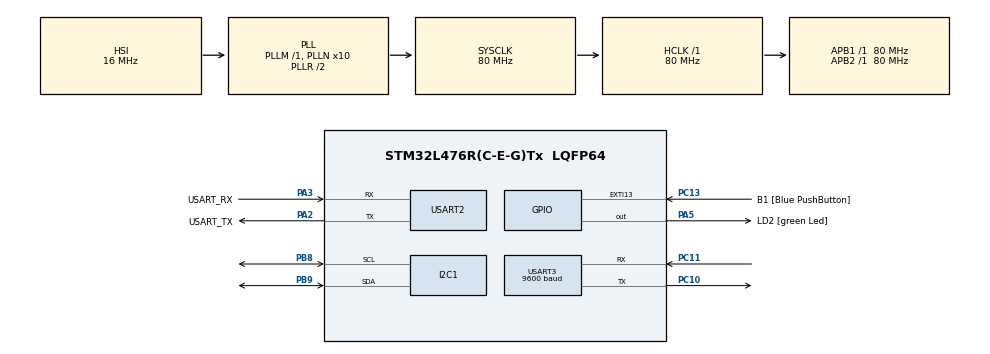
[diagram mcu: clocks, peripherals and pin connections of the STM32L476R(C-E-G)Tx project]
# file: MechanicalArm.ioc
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Dma.Request0=USART3_RX
Dma.USART3_RX.0.Direction=DMA_PERIPH_TO_MEMORY
Dma.USART3_RX.0.Instance=DMA1_Channel3
Dma.USART3_RX.0.MemDataAlignment=DMA_MDATAALIGN_BYTE
Dma.USART3_RX.0.MemInc=DMA_MINC_ENABLE
Dma.USART3_RX.0.Mode=DMA_NORMAL
Dma.USART3_RX.0.PeriphDataAlignment=DMA_PDATAALIGN_BYTE
Dma.USART3_RX.0.PeriphInc=DMA_PINC_DISABLE
Dma.USART3_RX.0.Priority=DMA_PRIORITY_LOW
I2C1.Timing=0x10D19CE4
Mcu.Family=STM32L4
Mcu.Name=STM32L476R(C-E-G)Tx
Mcu.Package=LQFP64
NVIC.DMA1_Channel3_IRQn=true\:0\:0\:false\:false\:true\:false\:true\:true
NVIC.PriorityGroup=NVIC_PRIORITYGROUP_4
NVIC.USART2_IRQn=true\:0\:0\:false\:false\:true\:true\:true\:true
NVIC.USART3_IRQn=true\:0\:0\:false\:false\:true\:true\:true\:true
PA13\ (JTMS-SWDIO).GPIO_Label=TMS
PA13\ (JTMS-SWDIO).Mode=Serial_Wire
PA13\ (JTMS-SWDIO).Signal=SYS_JTMS-SWDIO
PA14\ (JTCK-SWCLK).GPIO_Label=TCK
PA14\ (JTCK-SWCLK).Mode=Serial_Wire
PA14\ (JTCK-SWCLK).Signal=SYS_JTCK-SWCLK
PA2.GPIO_Label=USART_TX
PA2.GPIO_Mode=GPIO_MODE_AF_PP
PA2.GPIO_PuPd=GPIO_NOPULL
PA2.GPIO_Speed=GPIO_SPEED_FREQ_VERY_HIGH
PA2.Mode=Asynchronous
PA2.Signal=USART2_TX
PA3.GPIO_Label=USART_RX
PA3.GPIO_Mode=GPIO_MODE_AF_PP
PA3.GPIO_PuPd=GPIO_NOPULL
PA3.GPIO_Speed=GPIO_SPEED_FREQ_VERY_HIGH
PA3.Mode=Asynchronous
PA3.Signal=USART2_RX
PA5.GPIO_Label=LD2 [green Led]
PA5.GPIO_ModeDefaultOutputPP=GPIO_MODE_OUTPUT_PP
PA5.GPIO_PuPd=GPIO_NOPULL
PA5.GPIO_Speed=GPIO_SPEED_FREQ_LOW
PA5.Signal=GPIO_Output
PB3\ (JTDO-TRACESWO).GPIO_Label=SWO
PB3\ (JTDO-TRACESWO).Signal=SYS_JTDO-SWO
PB8.Mode=I2C
PB8.Signal=I2C1_SCL
PB9.Mode=I2C
PB9.Signal=I2C1_SDA
PC10.Mode=Asynchronous
PC10.Signal=USART3_TX
PC11.Mode=Asynchronous
PC11.Signal=USART3_RX
PC13.GPIO_Label=B1 [Blue PushButton]
PC13.GPIO_ModeDefaultEXTI=GPIO_MODE_IT_FALLING
PC13.GPIO_PuPd=GPIO_NOPULL
PC13.Signal=GPXTI13
PC14-OSC32_IN\ (PC14).Mode=LSE-External-Oscillator
PC14-OSC32_IN\ (PC14).Signal=RCC_OSC32_IN
PC15-OSC32_OUT\ (PC15).Mode=LSE-External-Oscillator
PC15-OSC32_OUT\ (PC15).Signal=RCC_OSC32_OUT
PH0-OSC_IN\ (PH0).Signal=RCC_OSC_IN
PH1-OSC_OUT\ (PH1).Signal=RCC_OSC_OUT
ProjectManager.HeapSize=0x200
ProjectManager.StackSize=0x400
ProjectManager.TargetToolchain=CMake
RCC.ADCFreq_Value=64000000
RCC.AHBFreq_Value=80000000
RCC.APB1Freq_Value=80000000
RCC.APB1TimFreq_Value=80000000
RCC.APB2Freq_Value=80000000
RCC.APB2TimFreq_Value=80000000
RCC.CortexFreq_Value=80000000
RCC.HCLKFreq_Value=80000000
RCC.HSE_VALUE=8000000
RCC.HSI_VALUE=16000000
RCC.MSI_VALUE=4000000
RCC.PLLN=10
RCC.PLLSourceVirtual=RCC_PLLSOURCE_HSI
RCC.PREFETCH_ENABLE=1
RCC.SYSCLKFreq_VALUE=80000000
RCC.SYSCLKSource=RCC_SYSCLKSOURCE_PLLCLK
RCC.USBFreq_Value=64000000
RCC.VCOOutputFreq_Value=160000000
USART2.VirtualMode-Asynchronous=VM_ASYNC
USART3.BaudRate=9600
USART3.VirtualMode-Asynchronous=VM_ASYNC
board=NUCLEO-L476RG

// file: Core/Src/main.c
/* USER CODE BEGIN Header */
/**
  ******************************************************************************
  * @file           : main.c
  * @brief          : Main program body
  ******************************************************************************
  * @attention
  *
  * Copyright (c) 2026 STMicroelectronics.
  * All rights reserved.
  *
  * This software is licensed under terms that can be found in the LICENSE file
  * in the root directory of this software component.
  * If no LICENSE file comes with this software, it is provided AS-IS.
  *
  ******************************************************************************
  */
/* USER CODE END Header */
#include "main.h"

/* USER CODE BEGIN Includes */
#include "PCA9685.h"
#include "helpers.h"

#define BUFFER_SIZE           32
#define MAX_SERVO_SPEED       2
/* USER CODE END Includes */

I2C_HandleTypeDef hi2c1;

UART_HandleTypeDef huart2;
UART_HandleTypeDef huart3;
DMA_HandleTypeDef hdma_usart3_rx;

/* USER CODE BEGIN PV */
uint8_t rxBuffer[BUFFER_SIZE];  // DMA buffer for incoming joints angle packets

// servo mapping to PCA9685 outputs
static const uint8_t id_to_channel[7] = {0, 15, 14, 13, 12, 11, 10};

// current and target angle for smooth servo movement without jerking
static uint8_t currentAngle[6] = {90, 60, 45, 90, 90, 15};
static volatile uint8_t targetAngle[6] = {90, 60, 45, 90, 90, 15};

/* USER CODE END PV */

void SystemClock_Config(void);
static void MX_GPIO_Init(void);
static void MX_DMA_Init(void);
static void MX_I2C1_Init(void);
static void MX_USART2_UART_Init(void);
static void MX_USART3_UART_Init(void);

/* USER CODE BEGIN 0 */

// handles incoming esp32 servo control frame, first and last byte are used for validation
void HAL_UARTEx_RxEventCallback(UART_HandleTypeDef *huart, uint16_t size) {
  if (huart->Instance == USART3) {
    for (int i=0; i < size; i++) {
      if (rxBuffer[i] == 0xAA) {
        if (size - i >= 8) {
          uint8_t waist = rxBuffer[i+1];
          uint8_t shoulder = rxBuffer[i+2];
          uint8_t elbow = rxBuffer[i+3];
          uint8_t wristRoll = rxBuffer[i+4];
          uint8_t wristPitch = rxBuffer[i+5];
          uint8_t gripper = rxBuffer[i+6];
          uint8_t checkSum = rxBuffer[i+7];

          uint8_t sum = waist + shoulder + elbow + wristRoll + wristPitch + gripper;
          if (checkSum == sum) {
            targetAngle[0] = waist;
            targetAngle[1] = shoulder;
            targetAngle[2] = elbow;
            targetAngle[3] = wristRoll;
            targetAngle[4] = wristPitch;
            targetAngle[5] = gripper;

            break;
          }
        }
      }
    }
    // clear UART flags and restart DMA reception to keep communication stable

    __HAL_UART_CLEAR_OREFLAG(&huart3);
    __HAL_UART_CLEAR_IDLEFLAG(&huart3);
    huart3.ErrorCode = HAL_UART_ERROR_NONE;

    HAL_UARTEx_ReceiveToIdle_DMA(&huart3, rxBuffer, BUFFER_SIZE);
    __HAL_DMA_DISABLE_IT(&hdma_usart3_rx, DMA_IT_HT);
  }
}

/* USER CODE END 0 */

int main(void)
{

  /* MCU Configuration--------------------------------------------------------*/

  /* Reset of all peripherals, Initializes the Flash interface and the Systick. */
  HAL_Init();

  /* Configure the system clock */
  SystemClock_Config();

  /* Initialize all configured peripherals */
  MX_GPIO_Init();
  MX_DMA_Init();
  MX_I2C1_Init();
  MX_USART2_UART_Init();
  MX_USART3_UART_Init();
  /* USER CODE BEGIN 2 */

  // clear UART flags and restart DMA reception to keep communication stable
  __HAL_UART_CLEAR_OREFLAG(&huart3);
  __HAL_UART_CLEAR_IDLEFLAG(&huart3);
  huart3.ErrorCode = HAL_UART_ERROR_NONE;

  HAL_UARTEx_ReceiveToIdle_DMA(&huart3, rxBuffer, BUFFER_SIZE);
  __HAL_DMA_DISABLE_IT(&hdma_usart3_rx, DMA_IT_HT);

  PCA9685_Init(&hi2c1, 50);

  /* USER CODE END 2 */

  /* Infinite loop */
  /* USER CODE BEGIN WHILE */
  while (1)
  {
    // smoothly update servo positions toward target angles without sudden jerking
    for (int i = 0; i < 6; i++) {
      int diff = targetAngle[i] - currentAngle[i];

      if (ABS_filter(diff) < 1) {
        currentAngle[i] = targetAngle[i];
      }else {
        if (diff > MAX_SERVO_SPEED) {
          diff = MAX_SERVO_SPEED;
        }

        if (diff < -MAX_SERVO_SPEED) {
          diff = -MAX_SERVO_SPEED;
        }

        currentAngle[i] += diff;
      }

      PCA9685_SetServoAngle(id_to_channel[i+1], (uint8_t)currentAngle[i]);
    }

    HAL_Delay(10);
    /* USER CODE END WHILE */

  }
}

void SystemClock_Config(void)
{
  RCC_OscInitTypeDef RCC_OscInitStruct = {0};
  RCC_ClkInitTypeDef RCC_ClkInitStruct = {0};

  /** Configure the main internal regulator output voltage
  */
  if (HAL_PWREx_ControlVoltageScaling(PWR_REGULATOR_VOLTAGE_SCALE1) != HAL_OK)
  {
    Error_Handler();
  }

  /** Initializes the RCC Oscillators according to the specified parameters
  * in the RCC_OscInitTypeDef structure.
  */
  RCC_OscInitStruct.OscillatorType = RCC_OSCILLATORTYPE_HSI;
  RCC_OscInitStruct.HSIState = RCC_HSI_ON;
  RCC_OscInitStruct.HSICalibrationValue = RCC_HSICALIBRATION_DEFAULT;
  RCC_OscInitStruct.PLL.PLLState = RCC_PLL_ON;
  RCC_OscInitStruct.PLL.PLLSource = RCC_PLLSOURCE_HSI;
  RCC_OscInitStruct.PLL.PLLM = 1;
  RCC_OscInitStruct.PLL.PLLN = 10;
  RCC_OscInitStruct.PLL.PLLP = RCC_PLLP_DIV7;
  RCC_OscInitStruct.PLL.PLLQ = RCC_PLLQ_DIV2;
  RCC_OscInitStruct.PLL.PLLR = RCC_PLLR_DIV2;
  if (HAL_RCC_OscConfig(&RCC_OscInitStruct) != HAL_OK)
  {
    Error_Handler();
  }

  /** Initializes the CPU, AHB and APB buses clocks
  */
  RCC_ClkInitStruct.ClockType = RCC_CLOCKTYPE_HCLK|RCC_CLOCKTYPE_SYSCLK
                              |RCC_CLOCKTYPE_PCLK1|RCC_CLOCKTYPE_PCLK2;
  RCC_ClkInitStruct.SYSCLKSource = RCC_SYSCLKSOURCE_PLLCLK;
  RCC_ClkInitStruct.AHBCLKDivider = RCC_SYSCLK_DIV1;
  RCC_ClkInitStruct.APB1CLKDivider = RCC_HCLK_DIV1;
  RCC_ClkInitStruct.APB2CLKDivider = RCC_HCLK_DIV1;

  if (HAL_RCC_ClockConfig(&RCC_ClkInitStruct, FLASH_LATENCY_4) != HAL_OK)
  {
    Error_Handler();
  }
}

static void MX_I2C1_Init(void)
{

  hi2c1.Instance = I2C1;
  hi2c1.Init.Timing = 0x10D19CE4;
  hi2c1.Init.OwnAddress1 = 0;
  hi2c1.Init.AddressingMode = I2C_ADDRESSINGMODE_7BIT;
  hi2c1.Init.DualAddressMode = I2C_DUALADDRESS_DISABLE;
  hi2c1.Init.OwnAddress2 = 0;
  hi2c1.Init.OwnAddress2Masks = I2C_OA2_NOMASK;
  hi2c1.Init.GeneralCallMode = I2C_GENERALCALL_DISABLE;
  hi2c1.Init.NoStretchMode = I2C_NOSTRETCH_DISABLE;
  if (HAL_I2C_Init(&hi2c1) != HAL_OK)
  {
    Error_Handler();
  }

  /** Configure Analogue filter
  */
  if (HAL_I2CEx_ConfigAnalogFilter(&hi2c1, I2C_ANALOGFILTER_ENABLE) != HAL_OK)
  {
    Error_Handler();
  }

  /** Configure Digital filter
  */
  if (HAL_I2CEx_ConfigDigitalFilter(&hi2c1, 0) != HAL_OK)
  {
    Error_Handler();
  }

}

static void MX_USART2_UART_Init(void)
{

  huart2.Instance = USART2;
  huart2.Init.BaudRate = 115200;
  huart2.Init.WordLength = UART_WORDLENGTH_8B;
  huart2.Init.StopBits = UART_STOPBITS_1;
  huart2.Init.Parity = UART_PARITY_NONE;
  huart2.Init.Mode = UART_MODE_TX_RX;
  huart2.Init.HwFlowCtl = UART_HWCONTROL_NONE;
  huart2.Init.OverSampling = UART_OVERSAMPLING_16;
  huart2.Init.OneBitSampling = UART_ONE_BIT_SAMPLE_DISABLE;
  huart2.AdvancedInit.AdvFeatureInit = UART_ADVFEATURE_NO_INIT;
  if (HAL_UART_Init(&huart2) != HAL_OK)
  {
    Error_Handler();
  }

}

static void MX_USART3_UART_Init(void)
{

  huart3.Instance = USART3;
  huart3.Init.BaudRate = 9600;
  huart3.Init.WordLength = UART_WORDLENGTH_8B;
  huart3.Init.StopBits = UART_STOPBITS_1;
  huart3.Init.Parity = UART_PARITY_NONE;
  huart3.Init.Mode = UART_MODE_TX_RX;
  huart3.Init.HwFlowCtl = UART_HWCONTROL_NONE;
  huart3.Init.OverSampling = UART_OVERSAMPLING_16;
  huart3.Init.OneBitSampling = UART_ONE_BIT_SAMPLE_DISABLE;
  huart3.AdvancedInit.AdvFeatureInit = UART_ADVFEATURE_NO_INIT;
  if (HAL_UART_Init(&huart3) != HAL_OK)
  {
    Error_Handler();
  }

}

static void MX_DMA_Init(void)
{

  /* DMA controller clock enable */
  __HAL_RCC_DMA1_CLK_ENABLE();

  /* DMA interrupt init */
  /* DMA1_Channel3_IRQn interrupt configuration */
  HAL_NVIC_SetPriority(DMA1_Channel3_IRQn, 0, 0);
  HAL_NVIC_EnableIRQ(DMA1_Channel3_IRQn);

}

static void MX_GPIO_Init(void)
{
  GPIO_InitTypeDef GPIO_InitStruct = {0};

  /* GPIO Ports Clock Enable */
  __HAL_RCC_GPIOC_CLK_ENABLE();
  __HAL_RCC_GPIOH_CLK_ENABLE();
  __HAL_RCC_GPIOA_CLK_ENABLE();
  __HAL_RCC_GPIOB_CLK_ENABLE();

  /*Configure GPIO pin Output Level */
  HAL_GPIO_WritePin(LD2_GPIO_Port, LD2_Pin, GPIO_PIN_RESET);

  /*Configure GPIO pin : B1_Pin */
  GPIO_InitStruct.Pin = B1_Pin;
  GPIO_InitStruct.Mode = GPIO_MODE_IT_FALLING;
  GPIO_InitStruct.Pull = GPIO_NOPULL;
  HAL_GPIO_Init(B1_GPIO_Port, &GPIO_InitStruct);

  /*Configure GPIO pin : LD2_Pin */
  GPIO_InitStruct.Pin = LD2_Pin;
  GPIO_InitStruct.Mode = GPIO_MODE_OUTPUT_PP;
  GPIO_InitStruct.Pull = GPIO_NOPULL;
  GPIO_InitStruct.Speed = GPIO_SPEED_FREQ_LOW;
  HAL_GPIO_Init(LD2_GPIO_Port, &GPIO_InitStruct);

}

void Error_Handler(void)
{
  __disable_irq();
  while (1)
  {
  }
}
